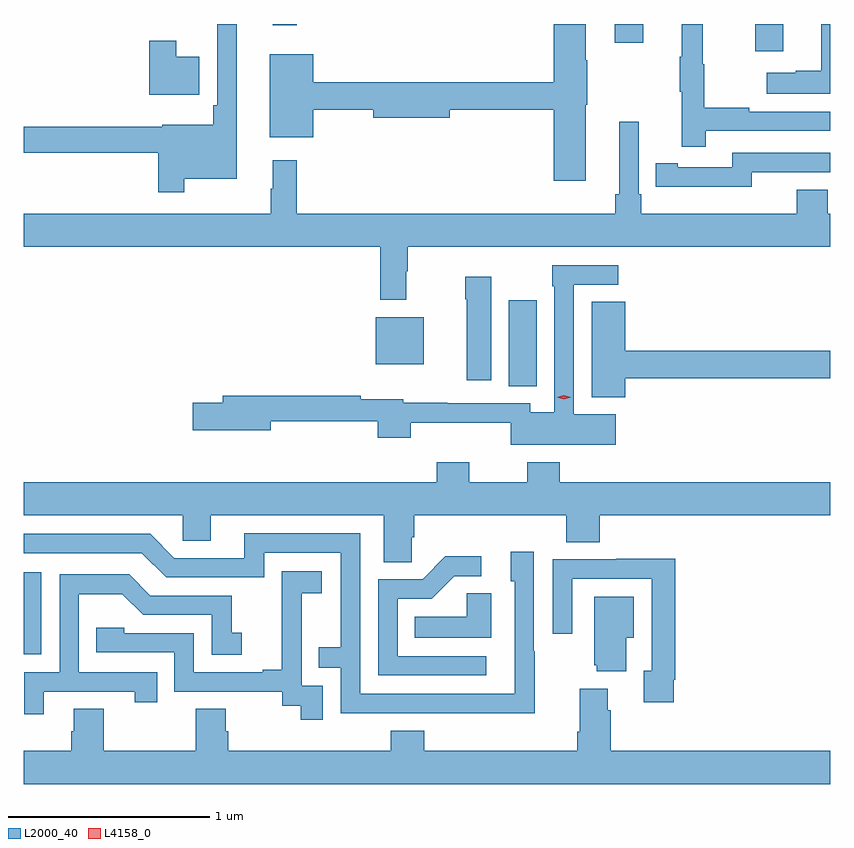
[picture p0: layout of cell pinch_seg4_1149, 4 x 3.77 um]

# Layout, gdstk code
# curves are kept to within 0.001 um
import gdstk
lib = gdstk.Library(unit=1e-6, precision=1e-09)
def R(c, l, rs):  # rectangles x0, y0, x1, y1
    for r in rs: c.add(gdstk.rectangle(r[:2], r[2:], *l))
def P(c, l, *ps):  # polygons
    for p in ps: c.add(gdstk.Polygon(p, *l))
L2000_40 = (2000, 40)
L4158_0 = (4158, 0)

pinch_seg4_1149 = lib.new_cell('pinch_seg4_1149')
R(pinch_seg4_1149, L2000_40, [(492.614,765.495,492.702,765.901), (495.02,766.825,495.157,767.251), (494.36,766.934,494.599,767.167), (496.241,768.486,496.381,768.62), (495.545,768.528,495.685,768.62), (493.85,768.615,493.967,768.62)])
P(pinch_seg4_1149, L2000_40, [(495.4,768.219),(495.408,768.219),(495.408,768.44),(495.4,768.44),(495.4,768.62),(495.242,768.62),(495.242,768.332),(494.05,768.332),(494.05,768.469),(493.835,768.469),(493.835,768.059),(494.05,768.059),(494.05,768.196),(494.348,768.196),(494.348,768.154),(494.728,768.154),(494.728,768.196),(495.242,768.196),(495.242,767.844),(495.4,767.844)],
  [(495.995,768.09),(496.614,768.09),(496.614,768.186),(496.211,768.186),(496.211,768.206),(495.988,768.206),(495.988,768.42),(495.98,768.42),(495.98,768.62),(495.878,768.62),(495.878,768.457),(495.867,768.457),(495.867,768.283),(495.878,768.283),(495.878,768.012),(495.995,768.012)],
  [(493.411,767.852),(493.672,767.852),(493.672,768.62),(493.575,768.62),(493.575,768.217),(493.555,768.217),(493.555,768.121),(493.301,768.121),(493.301,768.11),(492.614,768.11),(492.614,767.982),(493.282,767.982),(493.282,767.787),(493.411,767.787)],
  [(496.614,768.62),(496.568,768.62),(496.568,768.389),(496.442,768.389),(496.442,768.379),(496.299,768.379),(496.299,768.275),(496.614,768.275)],
  [(493.486,768.457),(493.372,768.457),(493.372,768.538),(493.238,768.538),(493.238,768.269),(493.486,768.269)],
  [(494.512,767.393),(494.519,767.393),(494.519,767.516),(496.614,767.516),(496.614,767.68),(496.601,767.68),(496.601,767.797),(496.448,767.797),(496.448,767.68),(495.677,767.68),(495.677,767.776),(495.663,767.776),(495.663,768.136),(495.566,768.136),(495.566,767.776),(495.547,767.776),(495.547,767.68),(493.967,767.68),(493.967,767.944),(493.85,767.944),(493.85,767.804),(493.839,767.804),(493.839,767.68),(492.614,767.68),(492.614,767.516),(494.383,767.516),(494.383,767.253),(494.512,767.253)],
  [(496.224,767.886),(496.614,767.886),(496.614,767.982),(496.128,767.982),(496.128,767.91),(495.856,767.91),(495.856,767.93),(495.748,767.93),(495.748,767.814),(495.856,767.814),(495.856,767.813),(496.224,767.813)],
  [(495.55,766.684),(495.342,766.684),(495.342,767.328),(495.562,767.328),(495.562,767.424),(495.234,767.424),(495.234,767.321),(495.246,767.321),(495.246,766.696),(495.126,766.696),(495.126,766.74),(494.714,766.74),(494.714,766.742),(494.496,766.742),(494.496,766.759),(494.285,766.759),(494.285,766.778),(493.601,766.778),(493.601,766.742),(493.452,766.742),(493.452,766.607),(493.84,766.607),(493.84,766.65),(494.369,766.65),(494.369,766.568),(494.534,766.568),(494.534,766.643),(495.03,766.643),(495.03,766.535),(495.55,766.535)],
  [(494.932,767.368),(494.803,767.368),(494.803,767.255),(494.81,767.255),(494.81,766.854),(494.932,766.854)],
  [(495.598,766.864),(496.614,766.864),(496.614,767),(495.598,767),(495.598,767.243),(495.431,767.243),(495.431,766.769),(495.598,766.769)],
  [(494.538,766.075),(494.552,766.075),(494.552,766.184),(495.305,766.184),(495.305,766.051),(495.47,766.051),(495.47,766.184),(496.614,766.184),(496.614,766.348),(495.272,766.348),(495.272,766.447),(495.112,766.447),(495.112,766.348),(494.823,766.348),(494.823,766.447),(494.663,766.447),(494.663,766.348),(492.614,766.348),(492.614,766.184),(493.404,766.184),(493.404,766.057),(493.543,766.057),(493.543,766.184),(494.399,766.184),(494.399,765.952),(494.538,765.952)],
  [(495.147,765.509),(495.144,765.509),(495.144,766.003),(495.029,766.003),(495.029,765.858),(495.048,765.858),(495.048,765.3),(494.283,765.3),(494.283,766.095),(493.709,766.095),(493.709,765.972),(493.362,765.972),(493.242,766.092),(492.614,766.092),(492.614,765.996),(493.2,765.996),(493.32,765.876),(493.806,765.876),(493.806,765.999),(494.187,765.999),(494.187,765.53),(494.077,765.53),(494.077,765.429),(494.187,765.429),(494.187,765.204),(495.147,765.203)],
  [(494.908,765.486),(494.469,765.486),(494.469,765.771),(494.638,765.771),(494.749,765.882),(494.884,765.882),(494.884,765.98),(494.705,765.98),(494.592,765.867),(494.373,765.867),(494.373,765.39),(494.908,765.39)],
  [(495.838,765.37),(495.845,765.37),(495.845,765.968),(495.553,765.968),(495.553,765.966),(495.237,765.966),(495.237,765.597),(495.333,765.597),(495.333,765.87),(495.729,765.87),(495.729,765.414),(495.689,765.414),(495.689,765.258),(495.838,765.258)],
  [(494.097,765.339),(493.992,765.339),(493.992,765.569),(493.994,765.569),(493.994,765.797),(494.092,765.797),(494.092,765.907),(493.894,765.907),(493.894,765.701),(493.895,765.701),(493.895,765.418),(493.799,765.418),(493.799,765.405),(493.458,765.405),(493.458,765.6),(493.113,765.6),(493.113,765.627),(492.973,765.627),(492.973,765.504),(493.362,765.504),(493.362,765.309),(493.896,765.309),(493.896,765.241),(493.989,765.241),(493.989,765.171),(494.097,765.171)],
  [(492.715,765.309),(493.166,765.309),(493.166,765.258),(493.277,765.258),(493.277,765.405),(492.888,765.405),(492.888,765.794),(493.102,765.794),(493.206,765.69),(493.548,765.69),(493.548,765.492),(493.696,765.492),(493.696,765.601),(493.647,765.601),(493.647,765.786),(493.243,765.786),(493.138,765.891),(492.792,765.891),(492.792,765.405),(492.618,765.405),(492.618,765.198),(492.715,765.198)],
  [(494.932,765.797),(494.811,765.797),(494.811,765.682),(494.554,765.682),(494.554,765.578),(494.932,765.578)],
  [(495.601,765.578),(495.64,765.578),(495.64,765.781),(495.443,765.781),(495.443,765.441),(495.455,765.441),(495.455,765.41),(495.601,765.41)],
  [(496.614,765.016),(495.524,765.016),(495.524,765.218),(495.511,765.218),(495.511,765.325),(495.371,765.325),(495.371,765.112),(495.359,765.112),(495.359,765.016),(494.6,765.016),(494.6,765.115),(494.435,765.115),(494.435,765.016),(493.628,765.016),(493.628,765.114),(493.615,765.114),(493.615,765.224),(493.468,765.224),(493.468,765.016),(493.011,765.016),(493.011,765.224),(492.863,765.224),(492.863,765.114),(492.851,765.114),(492.851,765.016),(492.614,765.016),(492.614,764.852),(496.614,764.852)])
P(pinch_seg4_1149, L4158_0, [(495.293,766.759),(495.258,766.769),(495.258,766.769),(495.258,766.769),(495.293,766.779),(495.328,766.769),(495.328,766.769),(495.328,766.769)])

lib.write_gds('pinch_seg4_1149.gds')
